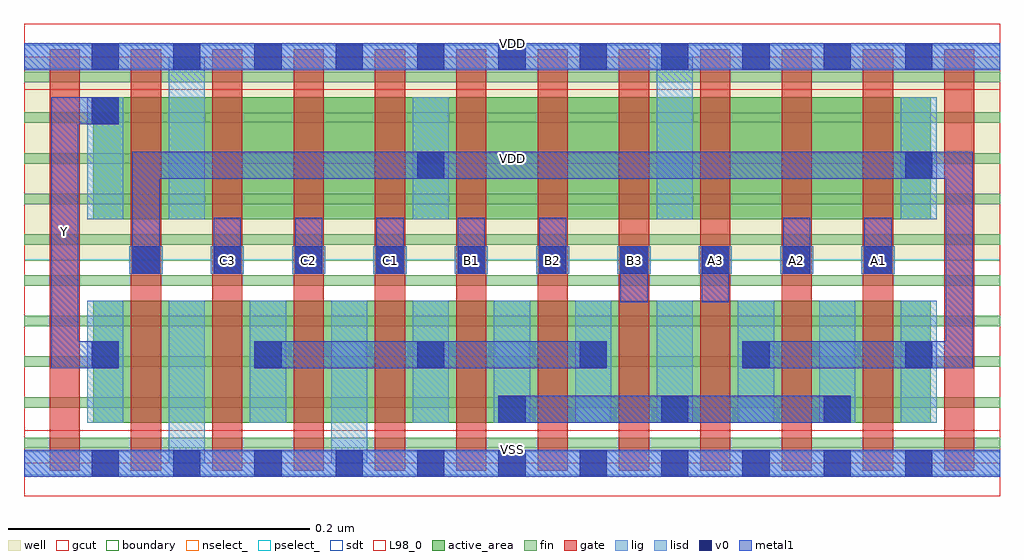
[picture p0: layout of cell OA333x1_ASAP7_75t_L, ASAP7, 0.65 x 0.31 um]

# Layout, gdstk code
import gdstk
lib = gdstk.Library(unit=1e-6, precision=2.5e-10)
def R(c, l, rs):  # rectangles x0, y0, x1, y1
    for r in rs: c.add(gdstk.rectangle(r[:2], r[2:], *l))
def A(c, l, x, y, w, h, nx, ny, dx, dy):  # array of equal rectangles
    R(c, l, [(x+i*dx, y+j*dy, x+i*dx+w, y+j*dy+h) for i in range(nx) for j in range(ny)])
def P(c, l, *ps):  # polygons
    for p in ps: c.add(gdstk.Polygon(p, *l))
well = (1, 0)
fin = (2, 0)
gate = (7, 0)
gcut = (10, 0)
active_area = (11, 0)
nselect_ = (12, 0)
pselect_ = (13, 0)
lig = (16, 0)
lisd = (17, 0)
v0 = (18, 0)
metal1 = (19, 0)
sdt = (88, 0)
L98_0 = (98, 0)
boundary = (100, 0)

oa333x1_asap7_75t_l = lib.new_cell('OA333x1_ASAP7_75t_L')
R(oa333x1_asap7_75t_l, well, [(0,0.135,0.648,0.27)])
A(oa333x1_asap7_75t_l, fin, 0, 0.01, 0.648, 0.007, 1, 10, 0, 0.027)
A(oa333x1_asap7_75t_l, gate, 0.017, -0.005, 0.02, 0.28, 12, 1, 0.054, 0)
R(oa333x1_asap7_75t_l, gcut, [(0,-0.022,0.648,0.022), (0,0.248,0.648,0.292)])
R(oa333x1_asap7_75t_l, active_area, [(0.046,0.027,0.602,0.108), (0.046,0.162,0.602,0.243)])
R(oa333x1_asap7_75t_l, nselect_, [(0,0,0.648,0.135)])
R(oa333x1_asap7_75t_l, pselect_, [(0,0.135,0.648,0.27)])
A(oa333x1_asap7_75t_l, lig, 0.07, 0.126, 0.022, 0.018, 10, 1, 0.054, 0)
R(oa333x1_asap7_75t_l, lig, [(0,-0.008,0.648,0.008), (0,0.262,0.648,0.278)])
A(oa333x1_asap7_75t_l, lisd, 0.042, 0.027, 0.024, 0.081, 3, 1, 0.108, 0)
A(oa333x1_asap7_75t_l, lisd, 0.312, 0.027, 0.024, 0.081, 6, 1, 0.054, 0)
R(oa333x1_asap7_75t_l, lisd, [(0.096,0,0.12,0.108), (0.096,0,0.12,0.108), (0.204,0,0.228,0.108), (0.204,0,0.228,0.108), (0.042,0.162,0.066,0.243), (0.096,0.162,0.12,0.27), (0.096,0.162,0.12,0.27), (0.258,0.162,0.282,0.243), (0.42,0.162,0.444,0.27), (0.42,0.162,0.444,0.27), (0.582,0.162,0.606,0.243)])
A(oa333x1_asap7_75t_l, v0, 0.045, -0.009, 0.018, 0.018, 11, 2, 0.054, 0.27)
A(oa333x1_asap7_75t_l, v0, 0.315, 0.027, 0.018, 0.018, 3, 1, 0.108, 0)
A(oa333x1_asap7_75t_l, v0, 0.045, 0.063, 0.018, 0.018, 6, 1, 0.108, 0)
A(oa333x1_asap7_75t_l, v0, 0.072, 0.126, 0.018, 0.018, 10, 1, 0.054, 0)
R(oa333x1_asap7_75t_l, v0, [(0.261,0.189,0.279,0.207), (0.585,0.189,0.603,0.207), (0.045,0.225,0.063,0.243)])
A(oa333x1_asap7_75t_l, metal1, 0.315, 0.027, 0.018, 0.018, 3, 1, 0.108, 0)
A(oa333x1_asap7_75t_l, metal1, 0.045, 0.063, 0.018, 0.018, 6, 1, 0.108, 0)
A(oa333x1_asap7_75t_l, metal1, 0.072, 0.126, 0.018, 0.018, 10, 1, 0.054, 0)
A(oa333x1_asap7_75t_l, metal1, 0.126, 0.126, 0.018, 0.037, 5, 1, 0.054, 0)
R(oa333x1_asap7_75t_l, metal1, [(0,-0.009,0.648,0.009), (0.315,0.027,0.549,0.045), (0.153,0.063,0.387,0.081), (0.396,0.107,0.414,0.144), (0.45,0.107,0.468,0.144), (0.504,0.126,0.522,0.163), (0.558,0.126,0.576,0.163), (0.261,0.189,0.279,0.207), (0.585,0.189,0.603,0.207), (0.045,0.225,0.063,0.243), (0,0.261,0.648,0.279)])
P(oa333x1_asap7_75t_l, metal1, [(0.063,0.081),(0.036,0.081),(0.036,0.225),(0.063,0.225),(0.063,0.243),(0.018,0.243),(0.018,0.063),(0.063,0.063)],
  [(0.072,0.207),(0.072,0.126),(0.09,0.126),(0.09,0.189),(0.612,0.189),(0.612,0.081),(0.477,0.081),(0.477,0.063),(0.63,0.063),(0.63,0.207)])
A(oa333x1_asap7_75t_l, sdt, 0.096, 0.027, 0.024, 0.081, 3, 1, 0.054, 0)
A(oa333x1_asap7_75t_l, sdt, 0.204, 0.027, 0.024, 0.081, 8, 1, 0.054, 0)
A(oa333x1_asap7_75t_l, sdt, 0.096, 0.162, 0.024, 0.081, 3, 1, 0.162, 0)
R(oa333x1_asap7_75t_l, sdt, [(0.042,0.027,0.066,0.108), (0.096,0.027,0.12,0.108), (0.042,0.162,0.066,0.243), (0.096,0.162,0.12,0.243), (0.42,0.162,0.444,0.243), (0.582,0.162,0.606,0.243)])
R(oa333x1_asap7_75t_l, L98_0, [(0,0,0.648,0.27)])
R(oa333x1_asap7_75t_l, boundary, [(0,0,0.648,0.27)])
oa333x1_asap7_75t_l.add(gdstk.Label('VDD', (0.324,0.2025), layer=1, texttype=251))
oa333x1_asap7_75t_l.add(gdstk.Label('VSS', (0.324,-0.0675), layer=3, texttype=251))
oa333x1_asap7_75t_l.add(gdstk.Label('VSS', (0.324,0.009), layer=19, texttype=251))
oa333x1_asap7_75t_l.add(gdstk.Label('VDD', (0.324,0.279), layer=19, texttype=251))
oa333x1_asap7_75t_l.add(gdstk.Label('Y', (0.027,0.154), layer=19, texttype=251))
oa333x1_asap7_75t_l.add(gdstk.Label('C3', (0.135,0.135), layer=19, texttype=251))
oa333x1_asap7_75t_l.add(gdstk.Label('C2', (0.189,0.135), layer=19, texttype=251))
oa333x1_asap7_75t_l.add(gdstk.Label('C1', (0.243,0.135), layer=19, texttype=251))
oa333x1_asap7_75t_l.add(gdstk.Label('B1', (0.297,0.135), layer=19, texttype=251))
oa333x1_asap7_75t_l.add(gdstk.Label('B2', (0.351,0.135), layer=19, texttype=251))
oa333x1_asap7_75t_l.add(gdstk.Label('B3', (0.405,0.135), layer=19, texttype=251))
oa333x1_asap7_75t_l.add(gdstk.Label('A3', (0.459,0.135), layer=19, texttype=251))
oa333x1_asap7_75t_l.add(gdstk.Label('A2', (0.513,0.135), layer=19, texttype=251))
oa333x1_asap7_75t_l.add(gdstk.Label('A1', (0.567,0.135), layer=19, texttype=251))

lib.write_gds('OA333x1_ASAP7_75t_L.gds')
